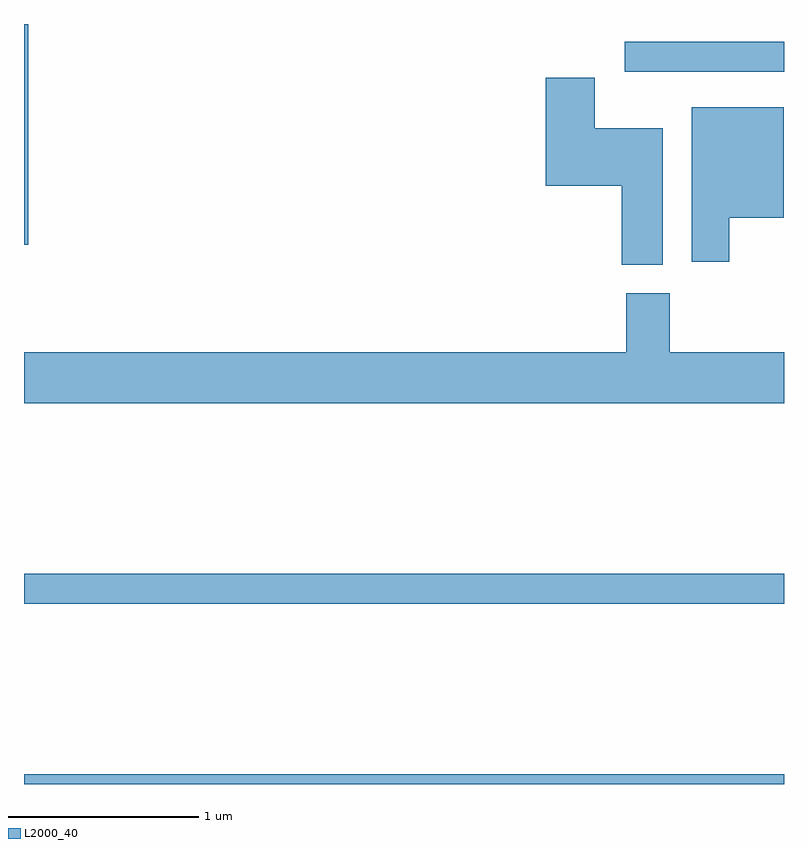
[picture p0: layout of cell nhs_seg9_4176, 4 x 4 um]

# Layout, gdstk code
import gdstk
lib = gdstk.Library(unit=1e-6, precision=1e-09)
def R(c, l, rs):  # rectangles x0, y0, x1, y1
    for r in rs: c.add(gdstk.rectangle(r[:2], r[2:], *l))
def P(c, l, *ps):  # polygons
    for p in ps: c.add(gdstk.Polygon(p, *l))
L2000_40 = (2000, 40)

nhs_seg9_4176 = lib.new_cell('nhs_seg9_4176')
R(nhs_seg9_4176, L2000_40, [(307.611,2036.432,311.611,2036.484), (307.611,2037.381,311.611,2037.539), (307.611,2039.271,307.634,2040.432), (310.773,2040.181,311.611,2040.339)])
P(nhs_seg9_4176, L2000_40, [(310.974,2039.884),(310.614,2039.884),(310.614,2040.149),(310.356,2040.149),(310.356,2039.581),(310.756,2039.581),(310.756,2039.166),(310.974,2039.166)],
  [(311.324,2039.411),(311.609,2039.411),(311.609,2039.994),(311.126,2039.994),(311.126,2039.181),(311.324,2039.181)],
  [(311.611,2038.704),(311.009,2038.704),(311.009,2039.014),(310.781,2039.014),(310.781,2038.704),(307.611,2038.704),(307.611,2038.436),(311.611,2038.436)])

lib.write_gds('nhs_seg9_4176.gds')
